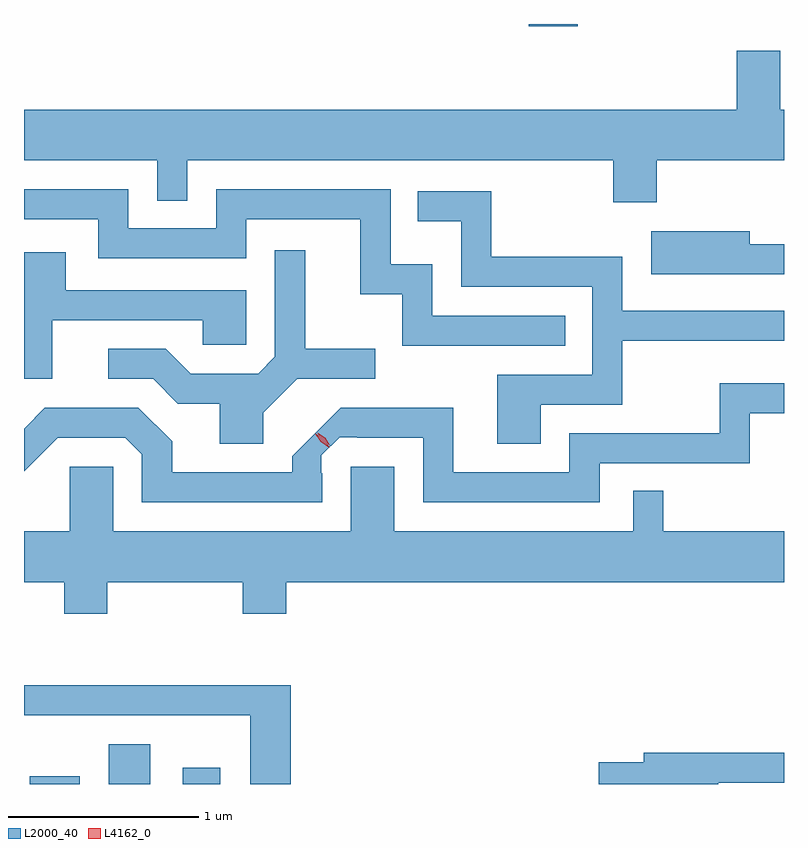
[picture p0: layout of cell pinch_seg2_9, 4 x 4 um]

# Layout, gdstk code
import gdstk
lib = gdstk.Library(unit=1e-6, precision=1e-09)
def R(c, l, rs):  # rectangles x0, y0, x1, y1
    for r in rs: c.add(gdstk.rectangle(r[:2], r[2:], *l))
def P(c, l, *ps):  # polygons
    for p in ps: c.add(gdstk.Polygon(p, *l))
L2000_40 = (2000, 40)
L4162_0 = (4162, 0)

pinch_seg2_9 = lib.new_cell('pinch_seg2_9')
R(pinch_seg2_9, L2000_40, [(1887.261,1069.454,1887.524,1069.494), (1887.676,1069.454,1887.894,1069.664), (1888.066,1069.454,1888.264,1069.539), (1889.886,1073.441,1890.144,1073.454)])
P(pinch_seg2_9, L2000_40, [(1890.559,1072.736),(1891.23,1072.736),(1891.23,1073.004),(1891.209,1073.004),(1891.209,1073.314),(1890.981,1073.314),(1890.981,1073.004),(1887.23,1073.004),(1887.23,1072.736),(1887.931,1072.736),(1887.931,1072.523),(1888.089,1072.523),(1888.089,1072.736),(1890.331,1072.736),(1890.331,1072.516),(1890.559,1072.516)],
  [(1890.078,1071.919),(1889.379,1071.919),(1889.379,1072.189),(1889.159,1072.189),(1889.159,1072.584),(1888.241,1072.584),(1888.241,1072.379),(1887.779,1072.379),(1887.779,1072.584),(1887.23,1072.584),(1887.23,1072.426),(1887.621,1072.426),(1887.621,1072.221),(1888.399,1072.221),(1888.399,1072.426),(1889.001,1072.426),(1889.001,1072.031),(1889.221,1072.031),(1889.221,1071.761),(1890.078,1071.761)],
  [(1889.949,1071.451),(1890.379,1071.451),(1890.379,1071.786),(1891.23,1071.786),(1891.23,1071.944),(1890.379,1071.944),(1890.379,1072.229),(1889.689,1072.229),(1889.689,1072.574),(1889.303,1072.574),(1889.303,1072.416),(1889.531,1072.416),(1889.531,1072.071),(1890.221,1072.071),(1890.221,1071.609),(1889.721,1071.609),(1889.721,1071.246),(1889.949,1071.246)],
  [(1891.23,1072.294),(1891.049,1072.294),(1891.049,1072.364),(1890.531,1072.364),(1890.531,1072.136),(1891.23,1072.136)],
  [(1888.489,1071.409),(1888.667,1071.586),(1889.078,1071.586),(1889.078,1071.744),(1888.709,1071.744),(1888.709,1072.263),(1888.551,1072.263),(1888.551,1071.702),(1888.464,1071.614),(1888.107,1071.614),(1887.977,1071.744),(1887.673,1071.744),(1887.673,1071.586),(1887.909,1071.586),(1888.039,1071.456),(1888.261,1071.456),(1888.261,1071.246),(1888.489,1071.246)],
  [(1887.379,1071.896),(1888.171,1071.896),(1888.171,1071.766),(1888.399,1071.766),(1888.399,1072.054),(1887.449,1072.054),(1887.449,1072.254),(1887.23,1072.254),(1887.23,1071.586),(1887.379,1071.586)],
  [(1888.799,1071.09),(1888.795,1071.09),(1888.795,1071.185),(1888.891,1071.28),(1888.985,1071.28),(1888.985,1071.276),(1889.331,1071.276),(1889.331,1070.936),(1890.259,1070.936),(1890.259,1071.141),(1891.049,1071.141),(1891.049,1071.406),(1891.23,1071.406),(1891.23,1071.564),(1890.891,1071.564),(1890.891,1071.299),(1890.101,1071.299),(1890.101,1071.094),(1889.489,1071.094),(1889.489,1071.434),(1888.898,1071.434),(1888.641,1071.178),(1888.641,1071.094),(1888.009,1071.094),(1888.009,1071.257),(1887.832,1071.434),(1887.339,1071.434),(1887.23,1071.325),(1887.23,1071.099),(1887.407,1071.276),(1887.764,1071.276),(1887.851,1071.189),(1887.851,1070.936),(1888.799,1070.936)],
  [(1887.669,1070.516),(1888.381,1070.516),(1888.381,1070.351),(1888.609,1070.351),(1888.609,1070.516),(1891.23,1070.516),(1891.23,1070.784),(1890.594,1070.784),(1890.594,1070.998),(1890.436,1070.998),(1890.436,1070.784),(1889.179,1070.784),(1889.179,1071.124),(1888.951,1071.124),(1888.951,1070.784),(1887.699,1070.784),(1887.699,1071.124),(1887.471,1071.124),(1887.471,1070.784),(1887.23,1070.784),(1887.23,1070.516),(1887.441,1070.516),(1887.441,1070.351),(1887.669,1070.351)],
  [(1888.634,1069.974),(1887.23,1069.974),(1887.23,1069.816),(1888.421,1069.816),(1888.421,1069.454),(1888.634,1069.454)],
  [(1890.884,1069.461),(1891.23,1069.461),(1891.23,1069.619),(1890.491,1069.619),(1890.491,1069.569),(1890.256,1069.569),(1890.256,1069.454),(1890.884,1069.454)])
P(pinch_seg2_9, L4162_0, [(1888.836,1071.225),(1888.793,1071.255),(1888.764,1071.298),(1888.764,1071.298),(1888.765,1071.298),(1888.808,1071.269),(1888.837,1071.226),(1888.837,1071.225)],
  [(1888.84,1071.236),(1888.801,1071.262),(1888.775,1071.301),(1888.775,1071.302),(1888.776,1071.302),(1888.815,1071.276),(1888.84,1071.237),(1888.84,1071.236)])

lib.write_gds('pinch_seg2_9.gds')
